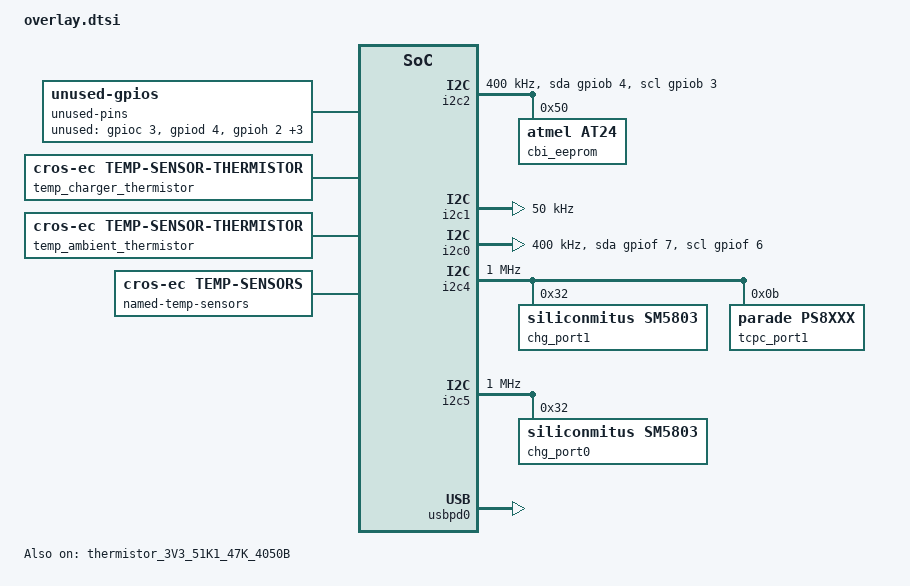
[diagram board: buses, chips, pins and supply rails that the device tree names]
/* Copyright 2021 The ChromiumOS Authors
 * Use of this source code is governed by a BSD-style license that can be
 * found in the LICENSE file.
 */

#include <cros/thermistor/thermistor.dtsi>
#include <dt-bindings/usb_pd_tcpm.h>

/ {
	aliases {
		gpio-cbi-wp = &gpio_ec_cbi_wp;
		gpio-wp = &gpio_ec_wp_odl;
		int-wp = &int_wp_l;
	};

	ec-console {
		compatible = "ec-console";
		disabled = "events", "lpc", "hostcmd";
	};

	batteries {
		default_battery: cosmx {
			compatible = "cosmx,gh02047xl", "battery-smart";
		};
		dynapack_atl_gh02047xl {
			compatible = "dynapack,atl_gh02047xl", "battery-smart";
		};
		dynapack_cosmx_gh02047xl {
			compatible = "dynapack,cosmx_gh02047xl", "battery-smart";
		};
		smp_coslight_gh02047xl {
			compatible = "smp,coslight_gh02047xl", "battery-smart";
		};
		smp_highpower_gh02047xl {
			compatible = "smp,highpower_gh02047xl", "battery-smart";
		};
	};

	hibernate-wake-pins {
		compatible = "cros-ec,hibernate-wake-pins";
		wakeup-irqs = <
			&int_power_button
			&int_lid_open
		>;
	};

	gpio-interrupts {
		compatible = "cros-ec,gpio-interrupts";

		int_power_button: power_button {
			irq-pin = <&gpio_gsc_ec_pwr_btn_odl>;
			flags = <GPIO_INT_EDGE_BOTH>;
			handler = "power_button_interrupt";
		};
		int_vol_down: vol_down {
			irq-pin = <&gpio_voldn_btn_odl>;
			flags = <GPIO_INT_EDGE_BOTH>;
			handler = "button_interrupt";
		};
		int_vol_up: vol_up {
			irq-pin = <&gpio_volup_btn_odl>;
			flags = <GPIO_INT_EDGE_BOTH>;
			handler = "button_interrupt";
		};
		int_wp_l: wp_l {
			irq-pin = <&gpio_ec_wp_odl>;
			flags = <GPIO_INT_EDGE_BOTH>;
			handler = "switch_interrupt";
		};
		int_lid_open: lid_open {
			irq-pin = <&gpio_lid_open>;
			flags = <GPIO_INT_EDGE_BOTH>;
			handler = "lid_interrupt";
		};
		int_tablet_mode: tablet_mode {
			irq-pin = <&gpio_tablet_mode_l>;
			flags = <GPIO_INT_EDGE_BOTH>;
			handler = "gmr_tablet_switch_isr";
		};
		int_imu: ec_imu {
			irq-pin = <&gpio_imu_int_l>;
			flags = <GPIO_INT_EDGE_FALLING>;
			handler = "bmi3xx_interrupt";
		};
		int_lid_accel: ec_lid_accel {
			irq-pin = <&gpio_acc_int_l>;
			flags = <GPIO_INT_EDGE_FALLING>;
			handler = "bma4xx_interrupt";
		};
		int_usb_c0: usb_c0 {
			irq-pin = <&gpio_usb_c0_int_odl>;
			flags = <GPIO_INT_EDGE_FALLING>;
			handler = "usb_c0_interrupt";
		};
		int_usb_c1: usb_c1 {
			irq-pin = <&gpio_usb_c1_int_odl>;
			flags = <GPIO_INT_EDGE_FALLING>;
			handler = "usb_c1_interrupt";
		};
	};

	unused-pins {
		compatible = "unused-gpios";
		unused-gpios = <&gpioc 3 0>,
			       <&gpiod 4 0>,
			       <&gpioh 2 0>,
			       <&gpiok 7 0>,
			       <&gpioc 6 0>,
			       <&gpiof 0 0>;
	};

	named-gpios {
		/*
		 * EC doesn't take any specific action on CC/SBU disconnect due to
		 * fault, but this definition is useful for hardware testing.
		 */
		gpio_usb_c0_prot_fault_odl: usb_c0_prot_fault_odl {
			gpios = <&gpiok 6 GPIO_INPUT_PULL_UP>;
		};
		gpio_fan_enable: fan-enable {
			gpios = <&gpiol 4 GPIO_OUTPUT>;
			no-auto-init;
		};
		gpio_power_led_gate: power_led_gate {
			gpios = <&gpiof 1 GPIO_OUTPUT_LOW>;
		};
		gpio_led_1_odl: led_1_odl {
			gpios = <&gpioa 1 GPIO_OUTPUT_HIGH>;
		};
		gpio_led_2_odl: led_2_odl {
			gpios = <&gpioa 2 GPIO_OUTPUT_HIGH>;
		};
		gpio_led_3_l: led_3_l {
			gpios = <&gpiol 2 GPIO_OUTPUT_HIGH>;
		};
		gpio_led_4_l: led_4_l {
			gpios = <&gpiol 3 GPIO_OUTPUT_HIGH>;
		};
	};

	temp_memory_thermistor: memory {
		compatible = "cros-ec,temp-sensor-thermistor";
		thermistor = <&thermistor_3V3_51K1_47K_4050B>;
		adc = <&adc_temp_sensor_1>;
	};
	temp_charger_thermistor: charger {
		compatible = "cros-ec,temp-sensor-thermistor";
		thermistor = <&thermistor_3V3_51K1_47K_4050B>;
		adc = <&adc_temp_sensor_2>;
	};
	temp_ambient_thermistor: ambient {
		compatible = "cros-ec,temp-sensor-thermistor";
		thermistor = <&thermistor_3V3_51K1_47K_4050B>;
		adc = <&adc_temp_sensor_3>;
	};

	named-temp-sensors {
		compatible = "cros-ec,temp-sensors";
		temp_memory: memory {
			temp_fan_off = <35>;
			temp_fan_max = <60>;
			temp_host_high = <75>;
			temp_host_halt = <80>;
			temp_host_release_high = <65>;
			power-good-pin = <&gpio_ec_soc_dsw_pwrok>;
			sensor = <&temp_memory_thermistor>;
		};
		temp_charger: charger {
			temp_fan_off = <35>;
			temp_fan_max = <60>;
			temp_host_high = <75>;
			temp_host_halt = <80>;
			temp_host_release_high = <65>;
			power-good-pin = <&gpio_ec_soc_dsw_pwrok>;
			sensor = <&temp_charger_thermistor>;
		};
		temp_ambient: ambient {
			temp_fan_off = <35>;
			temp_fan_max = <60>;
			temp_host_high = <70>;
			temp_host_halt = <80>;
			temp_host_release_high = <60>;
			power-good-pin = <&gpio_ec_soc_dsw_pwrok>;
			sensor = <&temp_ambient_thermistor>;
		};
	};

	usba {
		compatible = "cros-ec,usba-port-enable-pins";
		/*
		 * Unlike other Nissa boards, Joxer doesn't support USB-A1
		 * and uses that pin to control a power LED on sub-boards.
		 */
		enable-pins = <&gpio_en_usb_a0_vbus>;
		status = "okay";
	};

	usbc {
		#address-cells = <1>;
		#size-cells = <0>;

		port0@0 {
			compatible = "named-usbc-port";
			reg = <0>;
			chg = <&chg_port0>;
			tcpc = <&usbpd0>;
			usb-mux-chain-0 {
				compatible = "cros-ec,usb-mux-chain";
				usb-muxes = <&virtual_mux_0>;
			};
		};
		port0-muxes {
			virtual_mux_0: virtual-mux-0 {
				compatible = "cros-ec,usbc-mux-virtual";
			};
		};
		port1@1 {
			compatible = "named-usbc-port";
			reg = <1>;
			chg = <&chg_port1>;
			tcpc = <&tcpc_port1>;
			usb-mux-chain-1 {
				compatible = "cros-ec,usb-mux-chain";
				usb-muxes = <&virtual_mux_1 &tcpci_mux_1>;
			};
			usb_mux_chain_1_no_mux: usb-mux-chain-1-no-mux {
				compatible = "cros-ec,usb-mux-chain";
				alternative-chain;
				usb-muxes = <&virtual_mux_1>;
			};
		};
		port1-muxes {
			virtual_mux_1: virtual-mux-1 {
				compatible = "cros-ec,usbc-mux-virtual";
			};
			tcpci_mux_1: tcpci-mux-1 {
				compatible = "parade,usbc-mux-ps8xxx";
			};
		};
	};
};

&gpio_acc_int_l {
	gpios = <&gpioc 0 (GPIO_INPUT | GPIO_VOLTAGE_1P8)>;
};
&gpio_imu_int_l {
	gpios = <&gpioj 0 (GPIO_INPUT | GPIO_VOLTAGE_1P8)>;
};
&gpio_vccin_aux_vid0 {
	gpios = <&gpiod 0 (GPIO_INPUT | GPIO_VOLTAGE_1P8)>;
};
&gpio_vccin_aux_vid1 {
	gpios = <&gpiok 1 (GPIO_INPUT | GPIO_VOLTAGE_1P8)>;
};

&gpio_ec_prochot_odl {
	gpios = <&gpioi 1 (GPIO_ODR_HIGH | GPIO_VOLTAGE_1P8)>;
};

&thermistor_3V3_51K1_47K_4050B {
	status = "okay";
};

&adc_ec_vsense_pp3300_s5 {
	/*
	 * Voltage divider on input has 47k upper and 220k lower legs with 3 V
	 * full-scale reading on the ADC. Apply the largest possible multiplier
	 * (without overflowing int32) to get the best possible approximation
	 * of the actual ratio, but derate by a factor of two to ensure
	 * unexpectedly high values won't overflow.
	 */
	mul = <(715828 / 2)>;
	div = <(589820 / 2)>;
};

&adc0 {
	pinctrl-0 = <&adc0_ch0_gpi0_default
		     &adc0_ch2_gpi2_default
		     &adc0_ch3_gpi3_default
		     &adc0_ch13_gpl0_default
		     &adc0_ch14_gpl1_default>;
	pinctrl-names = "default";
};

&pinctrl {
	i2c2_clk_gpf6_default: i2c2_clk_gpf6_default {
		gpio-voltage = "1v8";
	};
	i2c2_data_gpf7_default: i2c2_data_gpf7_default {
		gpio-voltage = "1v8";
	};
};


&i2c2 {
	label = "I2C_EEPROM";
	clock-frequency = <I2C_BITRATE_FAST>;

	cbi_eeprom: eeprom@50 {
		compatible = "atmel,at24";
		reg = <0x50>;
		size = <2048>;
		pagesize = <16>;
		address-width = <8>;
		timeout = <5>;
	};
	pinctrl-0 = <&i2c0_clk_gpb3_default
		     &i2c0_data_gpb4_default>;
	pinctrl-names = "default";
	scl-gpios = <&gpiob 3 0>;
	sda-gpios = <&gpiob 4 0>;
	channel-switch-sel = <I2C_CHA_LOCATE>;
};

&i2c1 {
	label = "I2C_BATTERY";
	clock-frequency = <50000>;
	pinctrl-0 = <&i2c1_clk_gpc1_default
		     &i2c1_data_gpc2_default>;
	pinctrl-names = "default";
};

&i2c0 {
	label = "I2C_SENSOR";
	clock-frequency = <I2C_BITRATE_FAST>;
	pinctrl-0 = <&i2c2_clk_gpf6_default
		     &i2c2_data_gpf7_default>;
	pinctrl-names = "default";
	scl-gpios = <&gpiof 6 0>;
	sda-gpios = <&gpiof 7 0>;
	channel-switch-sel = <I2C_CHC_LOCATE>;
};

&i2c4 {
	label = "I2C_SUB_C1_TCPC";
	clock-frequency = <I2C_BITRATE_FAST_PLUS>;
	pinctrl-0 = <&i2c4_clk_gpe0_default
		     &i2c4_data_gpe7_default>;
	pinctrl-names = "default";

	chg_port1: sm5803@32 {
		compatible = "siliconmitus,sm5803";
		status = "okay";
		reg = <0x32>;
	};

	tcpc_port1: ps8745@b {
		compatible = "parade,ps8xxx";
		reg = <0xb>;
		tcpc-flags = <(TCPC_FLAGS_TCPCI_REV2_0)>;
	};
};

&i2c_ec_i2c_sub_usb_c1 {
	/*
	 * Dynamic speed setting is used for AP-controlled firmware update
	 * of PS8745 TCPC/redriver: the AP lowers speed to 400 kHz in order
	 * to use more efficient window programming, then sets it back when
	 * done.
	 */
	dynamic-speed;
};

&i2c5 {
	label = "I2C_USB_C0_TCPC";
	clock-frequency = <I2C_BITRATE_FAST_PLUS>;
	pinctrl-0 = <&i2c5_clk_gpa4_default
		     &i2c5_data_gpa5_default>;
	pinctrl-names = "default";

	chg_port0: sm5803@32 {
		compatible = "siliconmitus,sm5803";
		status = "okay";
		reg = <0x32>;
	};
};

&usbpd0 {
	status = "okay";
};
